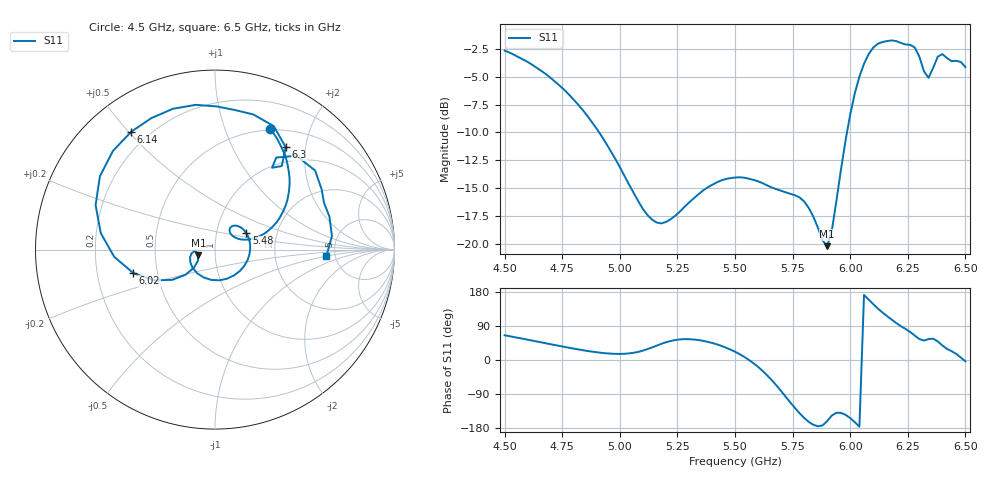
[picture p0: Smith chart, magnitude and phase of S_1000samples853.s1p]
! TOUCHSTONE file generated by CST MICROWAVE STUDIO
! Date and time: Sat Oct 29 14:48:03 2022
! Project name: L.cst
! Parameters = {Di=1.27; Epsilon_r=1.56; InnerDiameter=1.27; Length=2; Lf=10; Lg=60; OuterConductorThickness=0.2921; OuterDiameter=3.6; Wf=3; Wp=41.2; de=1.5; df=6.8; g=0.8; gx=1.25098; gy=2.85551; h=2.34; hf=1.524; px=12.7046; py=8.31857; w=9.7; wx=11.4536; wy=5.46306}
! Header version: 2018
! Port assignment regex: !\s*Touchstone port\s*([0-9]+)\s*=\s*(CST MWS port|CST DS port)\s*([0-9]+|Zmin|Zmax)\s*\(\"(.*)\"\)(\s*mode\s*([0-9]+))?.*
! Touchstone port assignment:
! Touchstone port 1 = CST MWS port 1 ("")
# GHz S DB R 50
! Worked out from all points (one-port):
!   101 points, 4.5 GHz to 6.5 GHz, reference 50 ohm
!   lowest |S11| = -20.2 dB at 5.9 GHz (marker M1), VSWR 1.22, Z = 41.5 - j2.61 ohm
!   |S11| at or under -10 dB: 4.91 GHz to 5.986 GHz (1.076 GHz wide, 19.7 % of centre)
!   S11 on the Smith chart (normalised r, x): 4.5 GHz: 0.49, +1.44; 5.48 GHz: 1.39, +0.26; 6.02 GHz: 0.36, -0.12; 6.14 GHz: 0.14, +0.51; 6.3 GHz: 0.75, +1.65; 6.5 GHz: 4.22, -0.49
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4.5  -2.65 65.3
4.62  -3.93 51.1
4.76  -6.20 34.6
5  -13.11 16.0
5.14  -17.84 33.1
5.26  -17.13 54.3
5.48  -14.11 27.5
5.5  -14.06 21.8
5.62  -14.57 -28.9
5.7  -15.25 -82.0
5.76  -15.65 -126.4
5.84  -17.58 -171.0
5.9  -20.23 -161.3
5.92  -18.87 -146.6
5.96  -13.34 -139.6
6  -8.40 -153.2
6.02  -6.49 -164.0
6.08  -2.97 159.5
6.14  -1.88 125.4
6.2  -1.79 97.6
6.26  -2.13 74.1
6.3  -3.19 55.3
6.32  -4.50 51.4
6.34  -5.10 55.1
6.36  -4.20 56.3
6.38  -3.20 49.0
6.42  -3.32 29.4
6.5  -4.13 -3.3
